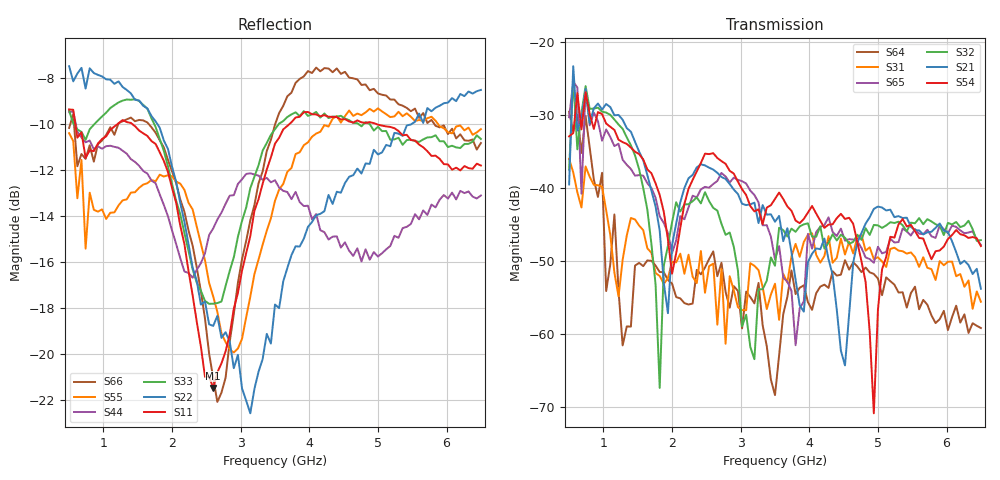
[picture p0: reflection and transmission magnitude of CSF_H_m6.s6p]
!Keysight Technologies,M9804A,MY58100912,A.14.10.03
!Date: Thursday, April 27, 2023 10:28:33
!Correction: S11(C  6-Port  )
!S12(C  6-Port  )
!S13(C  6-Port  )
!S14(C  6-Port  )
!S15(C  6-Port  )
!S16(C  6-Port  )
!S21(C  6-Port  )
!S22(C  6-Port  )
!S23(C  6-Port  )
!S24(C  6-Port  )
!S25(C  6-Port  )
!S26(C  6-Port  )
!S31(C  6-Port  )
!S32(C  6-Port  )
!S33(C  6-Port  )
!S34(C  6-Port  )
!S35(C  6-Port  )
!S36(C  6-Port  )
!S41(C  6-Port  )
!S42(C  6-Port  )
!S43(C  6-Port  )
!S44(C  6-Port  )
!S45(C  6-Port  )
!S46(C  6-Port  )
!S51(C  6-Port  )
!S52(C  6-Port  )
!S53(C  6-Port  )
!S54(C  6-Port  )
!S55(C  6-Port  )
!S56(C  6-Port  )
!S61(C  6-Port  )
!S62(C  6-Port  )
!S63(C  6-Port  )
!S64(C  6-Port  )
!S65(C  6-Port  )
!S66(C  6-Port  )
!S6P File: Measurement: :
# Hz S  RI  R 50
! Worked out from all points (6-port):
!   101 points, 500 MHz to 6.5 GHz, reference 50 ohm
!   strongest paths, dB at 500 MHz, 2 GHz, 3.5 GHz, 5 GHz, 6.5 GHz:
!     S54: -33.0, -51.8, -41.5, -56.7, -48.0
!     S21: -39.6, -47.8, -44.7, -42.6, -53.8
!     S32: -37.5, -44.7, -50.7, -45.2, -47.2
!     S65: -30.3, -48.9, -49.8, -48.1, -47.8
!     S31: -36.0, -50.1, -53.2, -49.5, -55.6
!     S64: -29.6, -53.1, -68.4, -52.4, -59.2
!   lowest |S11| = -21.5 dB at 2.6 GHz (marker M1), VSWR 1.18, Z = 42.5 + j2.12 ohm
!   |S11| at or under -10 dB: 590.7 MHz to 1.206 GHz (615 MHz wide, 68.5 % of centre); 1.421 GHz to 3.71 GHz (2.288 GHz wide, 89.2 % of centre); 4.977 GHz to end of sweep
